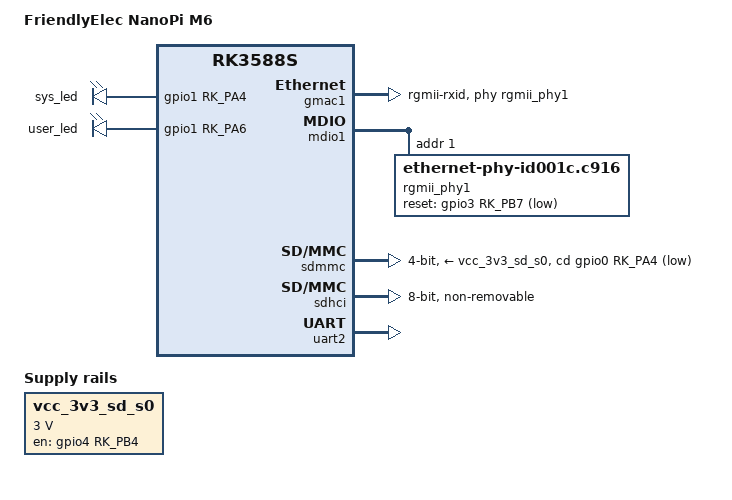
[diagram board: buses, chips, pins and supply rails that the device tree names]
// SPDX-License-Identifier: (GPL-2.0+ OR MIT)
/*
 * Minimal U-Boot device tree for FriendlyElec NanoPi M6
 * Based on Armbian's rk3588s-nanopi-m6.dts
 * Stripped down for Collabora U-Boot fork compatibility (v2023.07)
 *
 * Key differences from Rock 5A:
 *   - LEDs: GPIO1_A4 (sys_led), GPIO1_A6 (user_led)
 *   - Ethernet: tx_delay 0x42 (vs 0x3a on Rock5A)
 *   - SD card: Different CD GPIO and power control
 *   - Ethernet PHY reset: Same GPIO as Rock5A (GPIO3_B7)
 */

/dts-v1/;

#include <dt-bindings/gpio/gpio.h>
#include <dt-bindings/pinctrl/rockchip.h>
#include "rk3588s.dtsi"

/ {
	model = "FriendlyElec NanoPi M6";
	compatible = "friendlyelec,nanopi-m6", "rockchip,rk3588s";

	aliases {
		ethernet0 = &gmac1;
		mmc0 = &sdhci;
		mmc1 = &sdmmc;
		serial2 = &uart2;
	};

	chosen {
		stdout-path = "serial2:1500000n8";
	};

	leds {
		compatible = "gpio-leds";

		sys_led: led-0 {
			label = "sys_led";
			gpios = <&gpio1 RK_PA4 GPIO_ACTIVE_HIGH>;
			linux,default-trigger = "heartbeat";
			pinctrl-names = "default";
			pinctrl-0 = <&sys_led_pin>;
		};

		user_led: led-1 {
			label = "user_led";
			gpios = <&gpio1 RK_PA6 GPIO_ACTIVE_HIGH>;
			pinctrl-names = "default";
			pinctrl-0 = <&user_led_pin>;
		};
	};

	/* Fixed regulator for SD card power */
	vcc_3v3_sd_s0: regulator-vcc-3v3-sd-s0 {
		compatible = "regulator-fixed";
		enable-active-high;
		gpios = <&gpio4 RK_PB4 GPIO_ACTIVE_HIGH>;
		pinctrl-names = "default";
		pinctrl-0 = <&sd_s0_pwr>;
		regulator-name = "vcc_3v3_sd_s0";
		regulator-boot-on;
		regulator-max-microvolt = <3000000>;
		regulator-min-microvolt = <3000000>;
	};
};

/* Gigabit Ethernet - RTL8211F PHY */
&gmac1 {
	clock_in_out = "output";
	phy-handle = <&rgmii_phy1>;
	phy-mode = "rgmii-rxid";
	pinctrl-0 = <&gmac1_miim
		     &gmac1_tx_bus2
		     &gmac1_rx_bus2
		     &gmac1_rgmii_clk
		     &gmac1_rgmii_bus>;
	pinctrl-names = "default";
	tx_delay = <0x42>;
	status = "okay";
};

&mdio1 {
	rgmii_phy1: ethernet-phy@1 {
		/* RTL8211F */
		compatible = "ethernet-phy-id001c.c916";
		reg = <0x1>;
		pinctrl-names = "default";
		pinctrl-0 = <&rtl8211f_rst>;
		reset-assert-us = <20000>;
		reset-deassert-us = <100000>;
		reset-gpios = <&gpio3 RK_PB7 GPIO_ACTIVE_LOW>;
	};
};

&pinctrl {
	gpio-leds {
		sys_led_pin: sys-led-pin {
			rockchip,pins =
				<1 RK_PA4 RK_FUNC_GPIO &pcfg_pull_none>;
		};

		user_led_pin: user-led-pin {
			rockchip,pins =
				<1 RK_PA6 RK_FUNC_GPIO &pcfg_pull_none>;
		};
	};

	rtl8211f {
		rtl8211f_rst: rtl8211f-rst {
			rockchip,pins = <3 RK_PB7 RK_FUNC_GPIO &pcfg_pull_none>;
		};
	};

	sdmmc {
		sd_s0_pwr: sd-s0-pwr {
			rockchip,pins = <4 RK_PB4 RK_FUNC_GPIO &pcfg_pull_up>;
		};
	};
};

/* SD card slot */
&sdmmc {
	bus-width = <4>;
	cap-sd-highspeed;
	cd-gpios = <&gpio0 RK_PA4 GPIO_ACTIVE_LOW>;
	disable-wp;
	max-frequency = <150000000>;
	no-mmc;
	no-sdio;
	sd-uhs-sdr104;
	vmmc-supply = <&vcc_3v3_sd_s0>;
	status = "okay";
};

/* eMMC */
&sdhci {
	bus-width = <8>;
	no-sdio;
	no-sd;
	non-removable;
	max-frequency = <200000000>;
	mmc-hs400-1_8v;
	mmc-hs400-enhanced-strobe;
	status = "okay";
};

/* Debug UART */
&uart2 {
	pinctrl-0 = <&uart2m0_xfer>;
	status = "okay";
};
